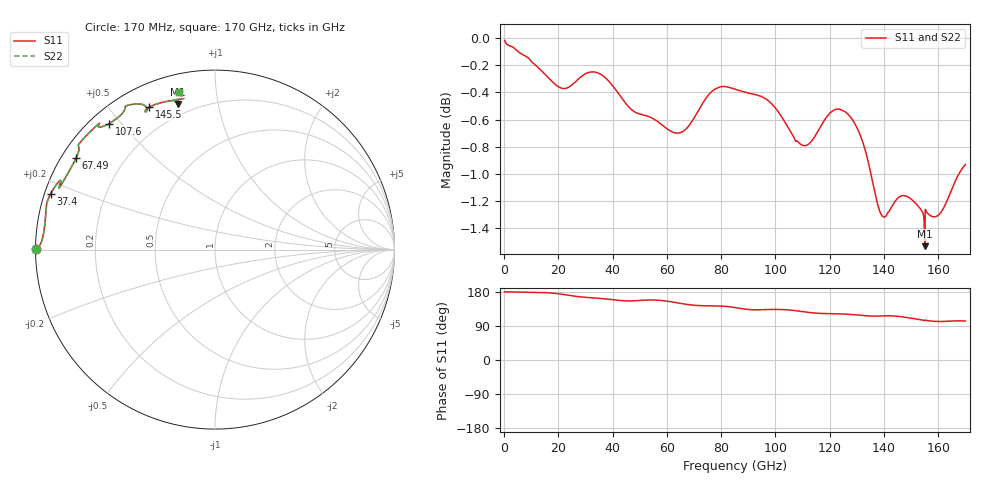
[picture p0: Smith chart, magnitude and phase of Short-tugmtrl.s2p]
!QAlibria Port Mapping:1,2
!QAlibria TraceName:S11,S21,S12,S22
# Hz S RI R 50
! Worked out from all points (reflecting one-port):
!   1000 points, 170 MHz to 170 GHz, reference 50 ohm
!   lowest |S11| = -1.5 dB at 155 GHz (marker M1), VSWR 11.34, Z = 7.04 + j38.4 ohm
!   phase of S11 starts at 180 deg and turns -77 deg over the sweep
!   S11 on the Smith chart (normalised r, x): 170 MHz: 0.00, +0.00; 37.4 GHz: 0.02, +0.17; 67.49 GHz: 0.04, +0.30; 107.6 GHz: 0.05, +0.46; 145.5 GHz: 0.09, +0.63; 170 GHz: 0.09, +0.79
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1.7e8  -0.9982 0.0017  0 0  0 0  -0.9982 0.0017
1.649e10  -0.9655 0.0464  0 0  0 0  -0.9655 0.0464
2.856e10  -0.9406 0.2296  0 0  0 0  -0.9406 0.2296
3.74e10  -0.915 0.3123  0 0  0 0  -0.915 0.3123
4.522e10  -0.8629 0.3852  0 0  0 0  -0.8629 0.3852
5.678e10  -0.8619 0.3529  0 0  0 0  -0.8619 0.3529
6.749e10  -0.7738 0.5102  0 0  0 0  -0.7738 0.5102
7.242e10  -0.7578 0.5621  0 0  0 0  -0.7578 0.5621
8.007e10  -0.7587 0.5878  0 0  0 0  -0.7587 0.5878
8.517e10  -0.7147 0.6374  0 0  0 0  -0.7147 0.6374
9.146e10  -0.6459 0.7019  0 0  0 0  -0.6459 0.7019
1.0098e11  -0.6458 0.6824  0 0  0 0  -0.6458 0.6824
1.0761e11  -0.5906 0.7006  0 0  0 0  -0.5906 0.7006
1.1339e11  -0.5203 0.7544  0 0  0 0  -0.5203 0.7544
1.2478e11  -0.4898 0.8028  0 0  0 0  -0.4898 0.8028
1.309e11  -0.4391 0.8116  0 0  0 0  -0.4391 0.8116
1.3634e11  -0.3828 0.7926  0 0  0 0  -0.3828 0.7926
1.4178e11  -0.3896 0.7699  0 0  0 0  -0.3896 0.7699
1.4552e11  -0.3677 0.7924  0 0  0 0  -0.3677 0.7924
1.5504e11  -0.2068 0.812  0 0  0 0  -0.2068 0.812
1.6014e11  -0.174 0.8427  0 0  0 0  -0.174 0.8427
1.7e11  -0.2 0.8757  0 0  0 0  -0.2 0.8757
